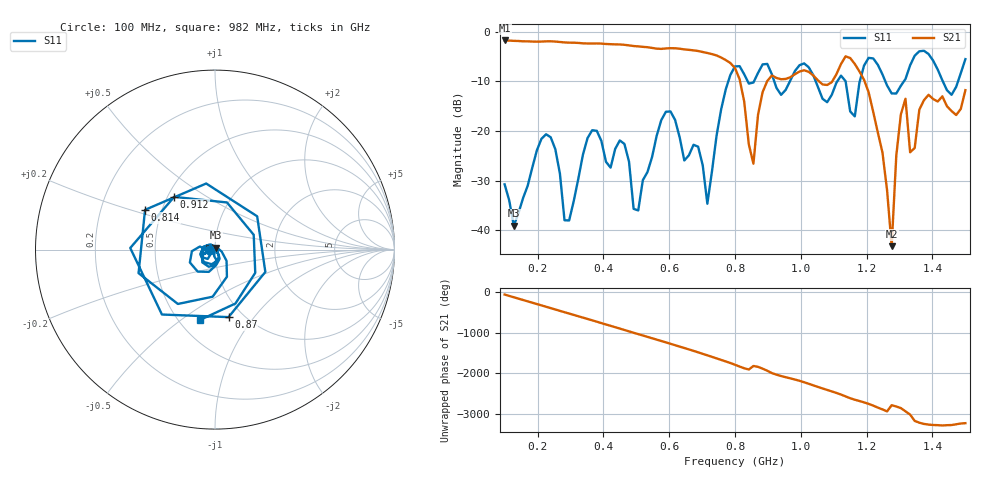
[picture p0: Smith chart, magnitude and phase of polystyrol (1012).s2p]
! NanoVNA-App
! Date: 2025-09-25 15:37:45
! Start: 100MHz Stop: 1,5GHz Points: 101
! S-Parameter data: F S11 S21 S12 S22
# Hz S RI R 50
!  Frequency  S11_Real  S11_Imag  S21_Real  S21_Imag  S12_Real  S12_Imag  S22_Real  S22_Imag
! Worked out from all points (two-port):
!   101 points, 100 MHz to 1.5 GHz, reference 50 ohm
!   highest |S21| = -1.80 dB at 100 MHz (marker M1); lowest = -43.2 dB at 1.276 GHz (marker M2)
!   |S21| within 3 dB of the highest: start of sweep to 743.1 MHz
!   lowest |S11| = -39.1 dB at 128 MHz (marker M3), VSWR 1.02, Z = 50.3 + j1.06 ohm
!   |S11| at or under -10 dB: start of sweep to 779.8 MHz; 1.045 GHz to 1.111 GHz (65.94 MHz wide, 6.12 % of centre); 1.257 GHz to 1.313 GHz (56.65 MHz wide, 4.41 % of centre) (the widest 3 of 7)
!   S12 and S22 are empty: the file has one direction only
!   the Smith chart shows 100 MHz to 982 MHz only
!   S11 on the Smith chart (normalised r, x): 100 MHz: 0.94, -0.01; 814 MHz: 0.40, +0.22; 870 MHz: 0.86, -0.75; 912 MHz: 0.54, +0.37; 982 MHz: 0.63, -0.59
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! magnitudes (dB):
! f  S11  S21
! 100 MHz  -30.7  -1.8
! 128 MHz  -39.1  -1.9
! 212 MHz  -21.6  -2.0
! 282 MHz  -38.0  -2.2
! 338 MHz  -24.8  -2.4
! 464 MHz  -22.6  -2.7
! 506 MHz  -36.0  -3.0
! 576 MHz  -17.8  -3.5
! 716 MHz  -34.6  -4.3
! 800 MHz  -7.0  -7.3
! 814 MHz  -7.0  -9.6
! 856 MHz  -10.3  -26.6
! 870 MHz  -8.3  -16.7
! 912 MHz  -8.6  -8.8
! 982 MHz  -8.0  -8.6
! 1.038 GHz  -8.8  -8.8
! 1.164 GHz  -17.1  -6.5
! 1.192 GHz  -6.9  -9.7
! 1.276 GHz  -12.5  -43.2
! 1.318 GHz  -9.5  -13.5
! 1.332 GHz  -6.8  -24.3
! 1.5 GHz  -5.6  -11.8
